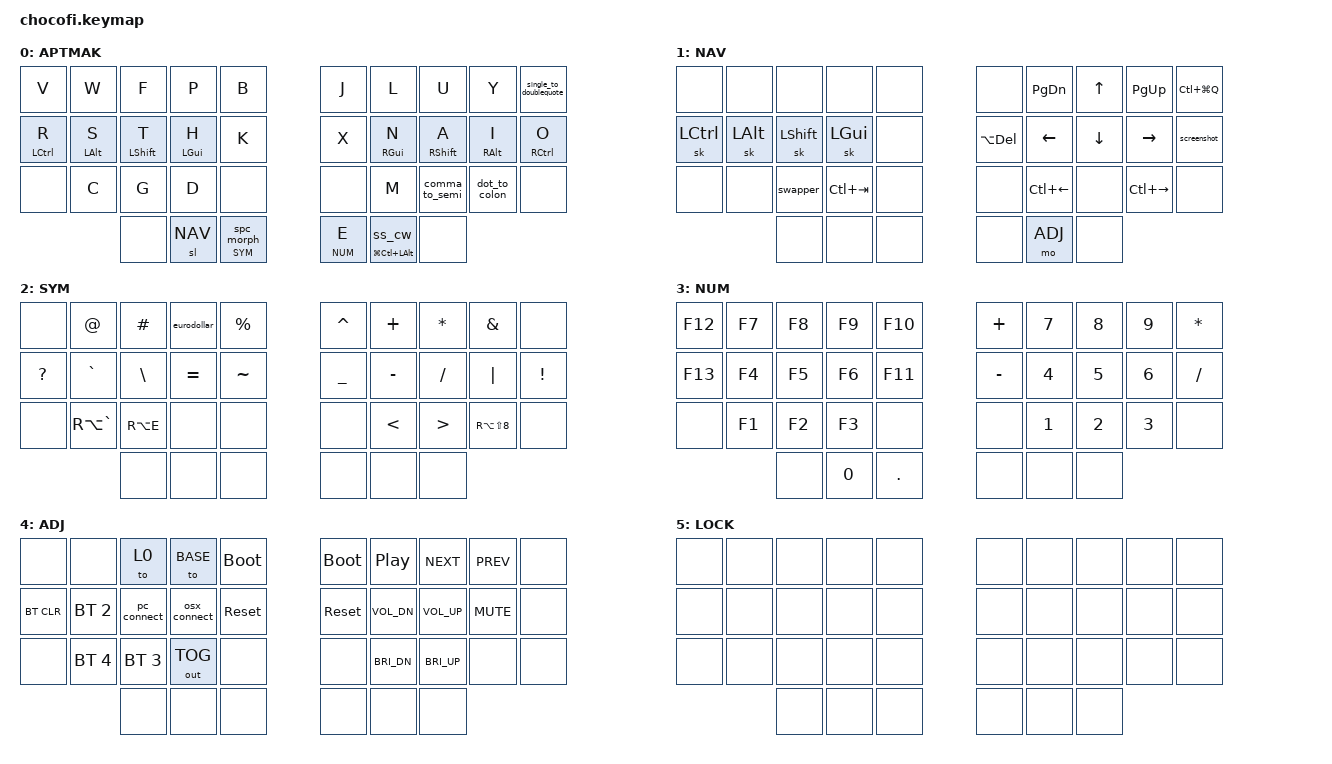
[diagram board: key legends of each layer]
#include <behaviors.dtsi>
#include <dt-bindings/zmk/keys.h>
#include <dt-bindings/zmk/bt.h>
#include <dt-bindings/zmk/outputs.h>

// layers ID definition
#define BASE 0
#define NAV 1
#define SYM 2
#define NUM 3
#define ADJ 4
#define LOCKL 5

#include "combos.dtsi"
// #include "mouse.dtsi"

// tapping term definition
#define TAP_TERM_MS 200
#define QUICK_TAP_MS 125

// macros definition
#define meh LG(LC(LALT))
#define hyper LG(LC(LS(LALT)))
#define deg RA(LS(N8))

// OSX specific macros
#define undo LG(Z)
#define redo LG(LS(Z))
#define DSK_PREV LC(LEFT)
#define DSK_NEXT LC(RIGHT)
#define prev_win LG(TAB)
#define next_win LG(LS(TAB))

// 36 keys physical layout
#define LEFT_KEYS 0 1 2 3 4 10 11 12 13 14 20 21 22 23 24 // left-hand keys
#define RIGHT_KEYS 5 6 7 8 9 15 16 17 18 19 25 26 27 28 29 // right-hand keys
#define THUMBS 30 31 32 33 34 35 // thumb keys

// tune mod tap
&mt {
    flavor = "tap-preferred";
    tapping_term_ms = <200>;
};

// layer tap config
&lt {
    flavor = "balanced";
    tapping-term-ms = <TAP_TERM_MS>;
    quick-tap-ms = <QUICK_TAP_MS>;      // double-tap + hold repeats tap-key
};

// tune sticky key
&sk {
    release-after-ms = <1000>;
    quick-release;
};

// sticky layer config
&sl {
    release-after-ms = <700>;
};

// caps word settings
&caps_word {
    continue-list = <UNDERSCORE MINUS N1 N2 N3 N4 N5 N6 N7 N8 N9 N0>;
};


// main tree
/ {
    behaviors {
        // HOME ROW MODS
        hml: left_hand_positional_hold_tap {
            compatible = "zmk,behavior-hold-tap";
            label = "LEFT_POSITIONAL_HOLD_TAP";
            #binding-cells = <2>;
            flavor = "balanced";
            tapping-term-ms = <TAP_TERM_MS>;
            quick-tap-ms = <QUICK_TAP_MS>;       // double-tap + hold repeats tap-key
            global-quick-tap-ms = <150>;         // without PR #1387 use global-quick-tap instead
            bindings = <&kp>, <&kp>;
            hold-trigger-key-positions = <RIGHT_KEYS THUMBS>;
            hold-trigger-on-release;
        };

        hmr: right_hand_positional_hold_tap {
            compatible = "zmk,behavior-hold-tap";
            label = "RIGHT_POSITIONAL_HOLD_TAP";
            #binding-cells = <2>;
            flavor = "balanced";
            tapping-term-ms = <TAP_TERM_MS>;
            quick-tap-ms = <QUICK_TAP_MS>;       // double-tap + hold repeats tap-key
            global-quick-tap-ms = <150>;         // without PR #1387 use global-quick-tap instead
            bindings = <&kp>, <&kp>;
            hold-trigger-key-positions = <LEFT_KEYS THUMBS>;
            hold-trigger-on-release;
        };

        // TAP DANCES
        eurodollar: tap_dance_euro_dollar {
            compatible = "zmk,behavior-tap-dance";
            label = "TAP_DANCE_EURO_DOLLAR";
            #binding-cells = <0>;
            tapping-term-ms = <TAP_TERM_MS>;
            bindings = <&kp DLLR>, <&kp LA(N5)>;
        };
        prev_next_song: prev_next_song {
            compatible = "zmk,behavior-tap-dance";
            label = "PREV_NEXT_SONG";
            #binding-cells = <0>;
            tapping-term-ms = <TAP_TERM_MS>;
            bindings = <&kp C_NEXT>, <&kp C_PREV>;
        };
        screenshot: screenshot { // single-tap: area selector, double-tap: full-screen
            compatible = "zmk,behavior-tap-dance";
            label = "SCREENSHOT";
            #binding-cells = <0>;
            tapping-term-ms = <TAP_TERM_MS>;
            bindings = <&kp LG(LS(NUMBER_4))>, <&kp LG(LS(NUMBER_3))>;
        };

        // tap: sticky-shift | lshft + tap: caps-word | hold: set in keymap (HYPER)
        ss_cw: ss_cw {
            compatible = "zmk,behavior-mod-morph";
            label = "SS_CW";
            #binding-cells = <0>;
            bindings = <&sk LSHFT>, <&caps_word>;
            mods = <(MOD_LSFT|MOD_RSFT)>;
        };
        lt_shft: lt_shft {
            compatible = "zmk,behavior-hold-tap";
            label = "LT_SHFT";
            #binding-cells = <2>;
            tapping-term-ms = <TAP_TERM_MS>;
            quick-tap-ms = <QUICK_TAP_MS>;
            flavor = "balanced";
            bindings = <&kp>, <&ss_cw>;
        };

        // tap: space | shft + tap: dot -> space -> sticky shift | hold: activate layer
        spc_morph: spc_morph {
            compatible = "zmk,behavior-mod-morph";
            label = "SPC_MORPH";
            #binding-cells = <0>;
            bindings = <&kp SPACE>, <&dot_spc>;
            mods = <(MOD_LSFT)>;
        };
        lt_spc: lt_spc {
            compatible = "zmk,behavior-hold-tap";
            label = "LT_SPC";
            #binding-cells = <2>;
            tapping-term-ms = <TAP_TERM_MS>;
            quick-tap-ms = <QUICK_TAP_MS>;
            flavor = "balanced";
            bindings = <&mo>, <&spc_morph>;
        };

        // Alt+Tab swapper, requires PR #1366
        swapper: swapper{
            compatible = "zmk,behavior-tri-state";
            label = "SWAPPER";
            #binding-cells = <0>;
            bindings = <&kt LGUI>, <&kp TAB>, <&kt LGUI>;
            ignored-key-positions = <31>; // the key being held for the layer activation
        };

        //usefull mod-morphs
        dot_to_colon: dot_to_colon {
            compatible = "zmk,behavior-mod-morph";
            label = "DOT_TO_COLON";
            #binding-cells = <0>;
            bindings = <&kp DOT>, <&kp COLON>;
            mods = <(MOD_LSFT|MOD_RSFT)>;
        };
        comma_to_semi: comma_to_semi {
            compatible = "zmk,behavior-mod-morph";
            label = "COMMA_TO_SEMICOLON";
            #binding-cells = <0>;
            bindings = <&kp COMMA>, <&kp SEMICOLON>;
            mods = <(MOD_LSFT|MOD_RSFT)>;
        };
        quest_to_excl: quest_to_excl {
            compatible = "zmk,behavior-mod-morph";
            label = "quest_to_excl";
            #binding-cells = <0>;
            bindings = <&kp QUESTION>, <&kp EXCLAMATION>;
            mods = <(MOD_LSFT|MOD_RSFT)>;
        };
        single_to_doublequote: single_to_doublequote {
            compatible = "zmk,behavior-mod-morph";
            label = "SINGLE_TO_DOUBLEQUOTE";
            #binding-cells = <0>;
            bindings = <&kp SINGLE_QUOTE>, <&kp DOUBLE_QUOTES>;
            mods = <(MOD_LSFT|MOD_RSFT)>;
        };
        // right ring finger + left middle finger morphs into accent dead key
        s_to_grave: s_to_grave { // specular to Option+E for the acute accent
            compatible = "zmk,behavior-mod-morph";
            label = "S_TO_GRAVE";
            #binding-cells = <0>;
            bindings = <&hml LSHIFT S>, <&kp RA(GRAVE)>;
            mods = <MOD_RALT>;
        };
    };

    // macros
    macros {
        sel_word: select_word {
            label = "ZM_SELECT_WORD";
            compatible = "zmk,behavior-macro";
            #binding-cells = <0>;
            bindings
                = <&macro_press &kp LCTRL>
                , <&macro_tap &kp LEFT>
                , <&macro_press &kp LSHFT>
                , <&macro_tap &kp RIGHT>
                , <&macro_release &kp LSHFT &kp LCTRL>
                ;
        };

        dot_spc: dot_spc{
            label = "ZM_DOT_SPACE";
            compatible = "zmk,behavior-macro";
            #binding-cells = <0>;
            wait-ms = <0>;
            tap-ms = <5>;
            bindings = <&kp DOT &kp SPACE &sk LSHFT>;
        };

        // Windows sleep key (fix LOCK not working on Windows)
        win_sleep: win_sleep{
            label = "ZM_WIN_SLEEP";
            compatible = "zmk,behavior-macro";
            #binding-cells = <0>;
            wait-ms = <100>;
            tap-ms = <5>;
            bindings = <&kp LG(X) &kp U &kp S>;
        };

        pc_connect: pc_connect{
            label = "ZM_PC_CONNECT";
            compatible = "zmk,behavior-macro";
            #binding-cells = <0>;
            wait-ms = <100>;
            tap-ms = <5>;
            bindings = <&bt BT_SEL 1 &to BASE>;
        };

        osx_connect: osx_connect{
            label = "ZM_PC_CONNECT";
            compatible = "zmk,behavior-macro";
            #binding-cells = <0>;
            wait-ms = <100>;
            tap-ms = <5>;
            bindings = <&bt BT_SEL 0 &to BASE>;
        };

        macro_par: macro_par{
            label = "ZM_PAR";
            compatible = "zmk,behavior-macro";
            #binding-cells = <0>;
            wait-ms = <0>;
            tap-ms = <5>;
            bindings = <&kp LPAR &kp RPAR &kp LEFT>;
        };
        macro_bkt: macro_bkt{
            label = "ZM_BKT";
            compatible = "zmk,behavior-macro";
            #binding-cells = <0>;
            wait-ms = <0>;
            tap-ms = <5>;
            bindings = <&kp LBKT &kp RBKT &kp LEFT>;
        };
        macro_brc: macro_brc{
            label = "ZM_BRC";
            compatible = "zmk,behavior-macro";
            #binding-cells = <0>;
            wait-ms = <0>;
            tap-ms = <5>;
            bindings = <&kp LBRC &kp RBRC &kp LEFT>;
        };
        macro_deg_win: macro_deg_win{
            label = "ZM_DEG";
            compatible = "zmk,behavior-macro";
            #binding-cells = <0>;
            wait-ms = <0>;
            tap-ms = <5>;
            bindings
                = <&macro_press   &kp LALT>
                , <&macro_tap     &kp KP_N0 &kp KP_N1 &kp KP_N7 &kp KP_N6>
                , <&macro_release &kp LALT>
                ;
        };
    };

    // conditional_layers {
    //     compatible = "zmk,conditional-layers";
    //     tri_layer {
    //         if-layers = <NAV NUM>;
    //         then-layer = <ADJ>;
    //     };
    // };

    keymap {
        compatible = "zmk,keymap";

        default_layer {
            label = "APTMAK";
            bindings = <
                &kp V         &kp W        &kp F          &kp P         &kp B               &kp J       &kp L          &kp U           &kp Y         &single_to_doublequote
                &hml LCTRL R  &hml LALT S  &hml LSHIFT T  &hml LGUI H   &kp K               &kp X       &hmr RGUI N    &hmr RSHIFT A   &hmr RALT I   &hmr RCTRL O
                &none         &kp C        &kp G          &kp D         &none               &none       &kp M          &comma_to_semi  &dot_to_colon &none
                                           &none          &sl NAV       &lt_spc SYM 0       &lt NUM E   &lt_shft meh 0 &none
            >;
        };

        nav_layer{
            label = "NAV";
            bindings = <
                &none       &none       &none       &none       &none          &none         &kp PG_DN   &kp UP    &kp PG_UP  &kp LC(LG(Q))
                &sk LCTRL   &sk LALT    &sk LSHFT   &sk LGUI    &none          &kp LA(DEL)   &kp LEFT    &kp DOWN  &kp RIGHT  &screenshot
                &none       &none       &swapper    &kp LC(TAB) &none          &none      &kp DSK_PREV   &none     &kp DSK_NEXT  &none
                                        &none       &none       &none          &none         &mo ADJ     &none
            >;
        };

        symbols {
            label = "SYM";
            bindings = <
                &none   &kp AT   &kp HASH   &eurodollar      &kp PERCENT       &kp CARET  &kp PLUS   &kp ASTRK  &kp AMPS  &none
                &kp QUESTION  &kp GRAVE  &kp BSLH   &kp EQUAL  &kp TILDE       &kp UNDER  &kp MINUS  &kp SLASH  &kp PIPE  &kp EXCL
                &none      &kp RA(GRAVE) &kp RA(E)  &none      &none           &none      &kp LT     &kp GT     &kp deg     &none
                                                &none  &none  &none            &none      &none      &none
            >;
        };

        num_layer{
            label = "NUM";
            bindings = <
                &kp F12  &kp F7  &kp F8  &kp F9  &kp F10          &kp PLUS   &kp N7  &kp N8  &kp N9  &kp ASTERISK
                &kp F13  &kp F4  &kp F5  &kp F6  &kp F11          &kp MINUS  &kp N4  &kp N5  &kp N6  &kp SLASH
                &none    &kp F1  &kp F2  &kp F3  &none            &none      &kp N1  &kp N2  &kp N3  &none
                                 &none   &kp N0  &kp DOT          &none      &none   &none
            >;
        };

        adj_layer {
            label = "ADJ";
            bindings = <
                &none        &none         &to 0         &to BASE      &bootloader        &bootloader  &kp C_PLAY_PAUSE  &kp C_NEXT    &kp C_PREV    &none
                &bt BT_CLR   &bt BT_SEL 2  &pc_connect   &osx_connect  &sys_reset         &sys_reset   &kp C_VOL_DN      &kp C_VOL_UP  &kp C_MUTE    &none
                &none        &bt BT_SEL 4  &bt BT_SEL 3  &out OUT_TOG  &none              &none        &kp C_BRI_DN      &kp C_BRI_UP  &none         &none
                                                         &none  &none  &none              &none  &none  &none
            >;
        };

        lock_layer {
            label = "LOCK";
            bindings = <
                &none  &none  &none  &none  &none        &none  &none  &none  &none  &none
                &none  &none  &none  &none  &none        &none  &none  &none  &none  &none
                &none  &none  &none  &none  &none        &none  &none  &none  &none  &none
                              &none  &none  &none        &none  &none  &none
            >;
        };

    };
};
